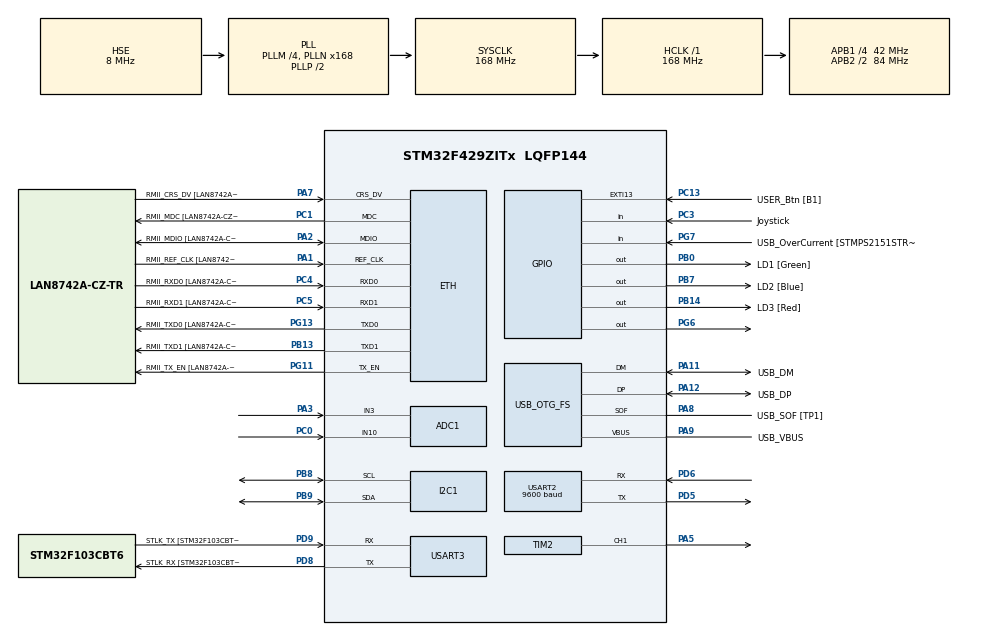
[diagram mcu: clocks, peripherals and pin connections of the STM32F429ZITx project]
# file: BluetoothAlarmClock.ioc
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ADC1.Channel-1\#ChannelRegularConversion=ADC_CHANNEL_3
ADC1.Channel-3\#ChannelRegularConversion=ADC_CHANNEL_10
ADC1.ContinuousConvMode=ENABLE
ADC1.DMAContinuousRequests=ENABLE
ADC1.DiscontinuousConvMode=DISABLE
ADC1.ExternalTrigConv=ADC_SOFTWARE_START
ADC1.NbrOfConversion=2
ADC1.NbrOfConversionFlag=1
ADC1.Rank-1\#ChannelRegularConversion=1
ADC1.Rank-3\#ChannelRegularConversion=2
ADC1.SamplingTime-1\#ChannelRegularConversion=ADC_SAMPLETIME_84CYCLES
ADC1.SamplingTime-3\#ChannelRegularConversion=ADC_SAMPLETIME_84CYCLES
ADC1.ScanConvMode=ENABLE
ADC1.master=1
Dma.ADC1.0.Direction=DMA_PERIPH_TO_MEMORY
Dma.ADC1.0.FIFOMode=DMA_FIFOMODE_DISABLE
Dma.ADC1.0.Instance=DMA2_Stream0
Dma.ADC1.0.MemDataAlignment=DMA_MDATAALIGN_WORD
Dma.ADC1.0.MemInc=DMA_MINC_ENABLE
Dma.ADC1.0.Mode=DMA_CIRCULAR
Dma.ADC1.0.PeriphDataAlignment=DMA_PDATAALIGN_WORD
Dma.ADC1.0.PeriphInc=DMA_PINC_DISABLE
Dma.ADC1.0.Priority=DMA_PRIORITY_LOW
Dma.Request0=ADC1
ETH.MediaInterface=HAL_ETH_RMII_MODE
ETH.PHY_Name=LAN8742A_PHY_ADDRESS
ETH.PHY_Value=0
ETH.PhyAddress=0
Mcu.Family=STM32F4
Mcu.Name=STM32F429ZITx
Mcu.Package=LQFP144
NVIC.DMA2_Stream0_IRQn=true\:0\:0\:false\:false\:true\:false\:true\:true
NVIC.EXTI15_10_IRQn=true\:0\:0\:false\:true\:true\:3\:true\:true\:true
NVIC.PriorityGroup=NVIC_PRIORITYGROUP_4
NVIC.USART2_IRQn=true\:0\:0\:false\:true\:true\:1\:true\:true\:true
NVIC.USART3_IRQn=true\:0\:0\:false\:true\:true\:2\:true\:true\:true
PA1.GPIO_Label=RMII_REF_CLK [LAN8742A-CZ-TR_REFCLK0]
PA1.Mode=RMII
PA1.Signal=ETH_REF_CLK
PA10.GPIO_Label=USB_ID
PA10.Signal=USB_OTG_FS_ID
PA11.GPIO_Label=USB_DM
PA11.Mode=Device_Only
PA11.Signal=USB_OTG_FS_DM
PA12.GPIO_Label=USB_DP
PA12.Mode=Device_Only
PA12.Signal=USB_OTG_FS_DP
PA13.GPIO_Label=TMS
PA13.Mode=Serial_Wire
PA13.Signal=SYS_JTMS-SWDIO
PA14.GPIO_Label=TCK
PA14.Mode=Serial_Wire
PA14.Signal=SYS_JTCK-SWCLK
PA2.GPIO_Label=RMII_MDIO [LAN8742A-CZ-TR_MDIO]
PA2.Mode=RMII
PA2.Signal=ETH_MDIO
PA3.Signal=ADCx_IN3
PA5.Signal=S_TIM2_CH1_ETR
PA7.GPIO_Label=RMII_CRS_DV [LAN8742A-CZ-TR_CRS_DV]
PA7.Mode=RMII
PA7.Signal=ETH_CRS_DV
PA8.GPIO_Label=USB_SOF [TP1]
PA8.Mode=Activate_SOF_FS
PA8.Signal=USB_OTG_FS_SOF
PA9.GPIO_Label=USB_VBUS
PA9.Mode=Activate_VBUS
PA9.Signal=USB_OTG_FS_VBUS
PB0.GPIO_Label=LD1 [Green]
PB0.Signal=GPIO_Output
PB13.GPIO_Label=RMII_TXD1 [LAN8742A-CZ-TR_TXD1]
PB13.Mode=RMII
PB13.Signal=ETH_TXD1
PB14.GPIO_Label=LD3 [Red]
PB14.Signal=GPIO_Output
PB7.GPIO_Label=LD2 [Blue]
PB7.Signal=GPIO_Output
PB8.Mode=I2C
PB8.Signal=I2C1_SCL
PB9.Mode=I2C
PB9.Signal=I2C1_SDA
PC0.Signal=ADCx_IN10
PC1.GPIO_Label=RMII_MDC [LAN8742A-CZ-TR_MDC]
PC1.Mode=RMII
PC1.Signal=ETH_MDC
PC13.GPIO_Label=USER_Btn [B1]
PC13.GPIO_ModeDefaultEXTI=GPIO_MODE_IT_RISING_FALLING
PC13.GPIO_PuPd=GPIO_NOPULL
PC13.Signal=GPXTI13
PC14/OSC32_IN.Mode=LSE-External-Oscillator
PC14/OSC32_IN.Signal=RCC_OSC32_IN
PC15/OSC32_OUT.Mode=LSE-External-Oscillator
PC15/OSC32_OUT.Signal=RCC_OSC32_OUT
PC3.GPIO_Label=Joystick
PC3.Signal=GPIO_Input
PC4.GPIO_Label=RMII_RXD0 [LAN8742A-CZ-TR_RXD0]
PC4.Mode=RMII
PC4.Signal=ETH_RXD0
PC5.GPIO_Label=RMII_RXD1 [LAN8742A-CZ-TR_RXD1]
PC5.Mode=RMII
PC5.Signal=ETH_RXD1
PD5.Mode=Asynchronous
PD5.Signal=USART2_TX
PD6.Mode=Asynchronous
PD6.Signal=USART2_RX
PD8.GPIO_Label=STLK_RX [STM32F103CBT6_PA3]
PD8.Mode=Asynchronous
PD8.Signal=USART3_TX
PD9.GPIO_Label=STLK_TX [STM32F103CBT6_PA2]
PD9.Mode=Asynchronous
PD9.Signal=USART3_RX
PG11.GPIO_Label=RMII_TX_EN [LAN8742A-CZ-TR_TXEN]
PG11.Mode=RMII
PG11.Signal=ETH_TX_EN
PG13.GPIO_Label=RMII_TXD0 [LAN8742A-CZ-TR_TXD0]
PG13.Mode=RMII
PG13.Signal=ETH_TXD0
PG6.Signal=GPIO_Output
PG7.GPIO_Label=USB_OverCurrent [STMPS2151STR_FAULT]
PG7.Signal=GPIO_Input
PH0/OSC_IN.GPIO_Label=MCO [STM32F103CBT6_PA8]
PH0/OSC_IN.Mode=HSE-External-Clock-Source
PH0/OSC_IN.Signal=RCC_OSC_IN
PH1/OSC_OUT.Mode=HSE-External-Clock-Source
PH1/OSC_OUT.Signal=RCC_OSC_OUT
ProjectManager.HeapSize=0x200
ProjectManager.StackSize=0x400
ProjectManager.TargetToolchain=STM32CubeIDE
RCC.48MHZClocksFreq_Value=48000000
RCC.AHBFreq_Value=168000000
RCC.APB1CLKDivider=RCC_HCLK_DIV4
RCC.APB1Freq_Value=42000000
RCC.APB1TimFreq_Value=84000000
RCC.APB2CLKDivider=RCC_HCLK_DIV2
RCC.APB2Freq_Value=84000000
RCC.APB2TimCLKDivider=2
RCC.APB2TimFreq_Value=168000000
RCC.CortexFreq_Value=168000000
RCC.HCLKFreq_Value=168000000
RCC.HSE_VALUE=8000000
RCC.HSI_VALUE=16000000
RCC.PLLM=4
RCC.PLLMUL=RCC_PLL_MUL9
RCC.PLLN=168
RCC.PLLQ=7
RCC.PRESCALERUSB=RCC_USBCLKSOURCE_PLL_DIV1_5
RCC.RCC_RTC_Clock_Source=RCC_RTCCLKSOURCE_LSE
RCC.RCC_RTC_Clock_SourceVirtual=RCC_RTCCLKSOURCE_LSE
RCC.SYSCLKFreq_VALUE=168000000
RCC.SYSCLKSource=RCC_SYSCLKSOURCE_PLLCLK
RCC.SYSCLKSourceVirtual=RCC_SYSCLKSOURCE_PLLCLK
RCC.USBFreq_Value=48000000
RCC.VCOOutputFreq_Value=336000000
RTC.HourFormat=RTC_HOURFORMAT_12
SH.ADCx_IN10.0=ADC1_IN10,IN10
SH.ADCx_IN3.0=ADC1_IN3,IN3
SH.S_TIM2_CH1_ETR.0=TIM2_CH1,PWM Generation1 CH1
TIM2.AutoReloadPreload=TIM_AUTORELOAD_PRELOAD_DISABLE
TIM2.Channel-PWM\ Generation1\ CH1=TIM_CHANNEL_1
TIM2.CounterMode=TIM_COUNTERMODE_DOWN
TIM2.Period=1000-1
TIM2.Prescaler=180-1
TIM2.Pulse-PWM\ Generation1\ CH1=0
USART2.BaudRate=9600
USART2.VirtualMode=VM_ASYNC
USART3.VirtualMode=VM_ASYNC
USB_OTG_FS.VirtualMode=Device_Only
VP_RTC_VS_RTC_Activate.Mode=RTC_Enabled
VP_TIM2_VS_ClockSourceINT.Mode=Internal
board=NUCLEO-F429ZI

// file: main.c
/* USER CODE BEGIN Header */
/**
  ******************************************************************************
  * @file           : main.c
  * @brief          : Main program body
  ******************************************************************************
  * @attention
  *
  * Copyright (c) 2023 STMicroelectronics.
  * All rights reserved.
  *
  * This software is licensed under terms that can be found in the LICENSE file
  * in the root directory of this software component.
  * If no LICENSE file comes with this software, it is provided AS-IS.
  *
  ******************************************************************************
  */
/* USER CODE END Header */
#include "main.h"
#include "adc.h"
#include "dma.h"
#include "eth.h"
#include "i2c.h"
#include "rtc.h"
#include "tim.h"
#include "usart.h"
#include "usb_otg.h"
#include "gpio.h"

/* USER CODE BEGIN Includes */
#include <string.h>
#include <stdio.h>
#include "lcm1602.h"
#include "flash.h"
/* USER CODE END Includes */

/* USER CODE BEGIN PTD */
RTC_TimeTypeDef sTime;
RTC_DateTypeDef sDate;

RTC_TimeTypeDef aTime;
RTC_DateTypeDef aDate;

typedef enum
{
	NONE,
	UP,
	DOWN,
	RIGHT,
	LEFT
}_Direction;

typedef enum
{
	AMPM=0,
	HOUR_T,
	HOUR_O,
	MINUTE_T,
	MINUTE_O,
	SECOND_T,
	SECOND_O,
}_SetMode;

typedef enum
{
	BUTTERFLY=0,
	LITTLESTAR,
	JINGLEBELLS
}_Belltype;

typedef enum
{
	SETTING,
	NORMAL,
	ALARM,
	BELL
}_MODE;
/* USER CODE END PTD */

/* USER CODE BEGIN PD */
#define RTC_FLASH_ADDRESS 0x08060000
/* USER CODE END PD */

/* USER CODE BEGIN PV */
_MODE mode=SETTING;

// AM/PM
_SetMode setmode = AMPM;
char tmpTime[100]= {0,};
char ampm[2][3] = {"AM", "PM"};

// Bell
_Belltype belltype = BUTTERFLY;
char tmp_bell_name[20]={0,};
char bell_name[3][20]={ {">> Butterfly    "}, {">> Little Star  "}, {">> Jingle Bells "}, };

enum notes {C = 956, D = 852, E = 758, F = 716, G = 638, A = 568, B = 506};
uint16_t butterfly[] = {G, E, E, F, D, D, C, D, E, F, G, G, G, G, E, E, E, F, D, D, C, E, G, G, E, E, E, D, D, D, D, D, E, F, E, E, E, E, E, F, G, G, E, E, E, F, D, D, C, E, G, G, E, E, E};
uint16_t butterfly_interval[] = {10, 10, 400, 10, 10, 400, 10, 10, 10, 10, 10, 10, 400, 10, 10, 10, 10, 10, 10, 400, 10, 10, 10, 10, 10, 10, 400, 10, 10, 10, 10, 10, 10, 400, 10, 10, 10, 10, 10, 10, 400, 10, 10, 10, 10, 10, 10, 400, 10, 10, 10, 10, 10, 10, 800};
uint8_t butterfly_length = sizeof(butterfly)/sizeof(uint16_t);

uint16_t littlestar[] = {C, C, G, G, A, A, G, F, F, E, E, D, D, C, G, G, F, F, E, E, D, G, G, F, F, E, E, D, C, C, G, G, A, A, G, F, F, E, E, D, D, C};
uint16_t littlestar_interval[] = {10, 10, 10, 10, 10, 10, 400, 10, 10, 10, 10, 10, 10, 400, 10, 10, 10, 10, 10, 10, 400, 10, 10, 10, 10, 10, 10, 400, 10, 10, 10, 10, 10, 10, 400, 10, 10, 10, 10, 10, 10, 800};
uint8_t littlestar_length = sizeof(littlestar)/sizeof(uint16_t);

uint16_t jinglebells[] = {E, E, E, E, E, E, E, G, C, D, E, F, F, F, F, F, E, E, E, E, D, D, E, D, G, E, E, E, E, E, E, E, G, C, D, E, F, F, F, F, F, E, E, E, G, G, F, D, C};
uint16_t jinglebells_interval[] = {10, 10, 400, 10, 10, 400, 10, 10, 10, 10, 800, 10, 10, 10, 10, 10, 10, 10, 10, 10, 10, 10, 10, 400, 600, 10, 10, 400, 10, 10, 400, 10, 10, 10, 10, 800, 10, 10, 10, 10, 10, 10, 10, 10, 10, 10, 10, 10, 800};
uint8_t jinglebells_length = sizeof(jinglebells) / sizeof(uint16_t);

// Button
_Direction direction;
_Direction button;
_Direction Bl_button;

uint8_t user_pressed_flag=0;
uint8_t user_pulled_flag=0;

uint32_t old_tick=0;
uint32_t current_tick=0;

uint8_t double_click = 0;
uint32_t interval = 0;
uint32_t interval_chk[2] = {0, };
int pulled_chk = -1;

// Alarm
uint8_t alarm_on=0;

// Joystick
uint32_t XY[2];

// Bluetooth
uint8_t rx2_data;
/* USER CODE END PV */

void SystemClock_Config(void);
static void MX_NVIC_Init(void);
/* USER CODE BEGIN PFP */
_Direction getButton();

void move_cur_time(RTC_TimeTypeDef *time, _Direction direction);
void move_cur_bell(_Direction direction);
/* USER CODE END PFP */

int main(void)
{

  /* MCU Configuration--------------------------------------------------------*/

  /* Reset of all peripherals, Initializes the Flash interface and the Systick. */
  HAL_Init();

  /* Configure the system clock */
  SystemClock_Config();

  /* Initialize all configured peripherals */
  MX_GPIO_Init();
  MX_DMA_Init();
  MX_ETH_Init();
  MX_USART3_UART_Init();
  MX_USB_OTG_FS_PCD_Init();
  MX_ADC1_Init();
  MX_I2C1_Init();
  MX_RTC_Init();
  MX_TIM2_Init();
  MX_USART2_UART_Init();
  /* Initialize interrupts */
  MX_NVIC_Init();
  /* USER CODE BEGIN 2 */
  LCM1602_init();

  HAL_UART_Receive_IT(&huart2, &rx2_data, sizeof(rx2_data));

  HAL_RTC_GetTime(&hrtc, &sTime, RTC_FORMAT_BIN);
  HAL_RTC_GetDate(&hrtc, &sDate, RTC_FORMAT_BIN);

  HAL_ADC_Start_DMA(&hadc1, XY, 2);

  uint8_t toggle=0;

  char customChar[] = {0x01, 0x03, 0x05, 0x09, 0x09, 0x0B, 0x1B, 0x18};
  LCD_SendCommand(LCD_ADDR, 0x40);
  for(int i=0; i<8; i++) LCD_SendData(customChar[i]);

  uint32_t readRtcData[3];
  FLASH_Read(RTC_FLASH_ADDRESS, readRtcData, sizeof(readRtcData) / sizeof(readRtcData[0]));
  sTime.Hours = readRtcData[0];
  sTime.Minutes = readRtcData[1];
  sTime.Seconds = readRtcData[2];
  HAL_RTC_SetTime(&hrtc, &sTime, RTC_FORMAT_BIN);
  /* USER CODE END 2 */

  /* Infinite loop */
  /* USER CODE BEGIN WHILE */
  while (1)
  {
	  // setting mode
	  if(mode==SETTING)
	  {
		  toggle^=1;

		  lcd_put_cur(0,0);
		  LCD_SendString("Setting Mode    ");

		  // Read Button
		  button = getButton();
		  move_cur_time(&sTime, button);

		  HAL_RTC_SetTime(&hrtc, &sTime, RTC_FORMAT_BIN);

		  // the part where it's big and blinking
		  if(toggle)
		  {
			  sprintf(tmpTime,"%s %02d:%02d:%02d ", ampm[sTime.TimeFormat], sTime.Hours, sTime.Minutes, sTime.Seconds);
		  }
		  else
		  {
			  if(setmode==AMPM)
			  {
				  sprintf(tmpTime,"   %02d:%02d:%02d ", sTime.Hours, sTime.Minutes, sTime.Seconds);
			  }
			  else if(setmode==HOUR_T)
			  {
				  sprintf(tmpTime,"%s  %d:%02d:%02d ", ampm[sTime.TimeFormat], sTime.Hours%10, sTime.Minutes, sTime.Seconds);
			  }
			  else if(setmode==HOUR_O)
			  {
				  sprintf(tmpTime,"%s %d :%02d:%02d ", ampm[sTime.TimeFormat], sTime.Hours/10, sTime.Minutes, sTime.Seconds);
			  }
			  else if(setmode==MINUTE_T)
			  {
				  sprintf(tmpTime,"%s %02d: %d:%02d ", ampm[sTime.TimeFormat], sTime.Hours, sTime.Minutes%10, sTime.Seconds);
			  }
			  else if(setmode==MINUTE_O)
			  {
				  sprintf(tmpTime,"%s %02d:%d :%02d ", ampm[sTime.TimeFormat], sTime.Hours, sTime.Minutes/10, sTime.Seconds);
			  }
			  else if(setmode==SECOND_T)
			  {
				  sprintf(tmpTime,"%s %02d:%02d: %d ", ampm[sTime.TimeFormat], sTime.Hours, sTime.Minutes, sTime.Seconds%10);
			  }
			  else if(setmode==SECOND_O)
			  {
				  sprintf(tmpTime,"%s %02d:%02d:%d ", ampm[sTime.TimeFormat], sTime.Hours, sTime.Minutes, sTime.Seconds/10);
			  }
		  }

		  lcd_put_cur(1,0);
		  LCD_SendString(tmpTime);

		  if(user_pressed_flag==1)
		  {
			  current_tick=HAL_GetTick();

			  if(current_tick-old_tick > 1)
			  {
				  old_tick=current_tick;
				  user_pressed_flag=0;
				  HAL_RTC_SetTime(&hrtc, &sTime, RTC_FORMAT_BIN);
				  mode=NORMAL;
			  }
		  }
	  }
	  // normal mode
	  else if(mode==NORMAL)
	  {
		  HAL_RTC_GetTime(&hrtc, &sTime, RTC_FORMAT_BIN);
		  HAL_RTC_GetDate(&hrtc, &sDate, RTC_FORMAT_BIN);
		  sprintf(tmpTime,"%s %02d:%02d:%02d     ", ampm[sTime.TimeFormat], sTime.Hours, sTime.Minutes, sTime.Seconds);
		  lcd_put_cur(0,0);
		  LCD_SendString("Choi Jin Woo    ");
		  lcd_put_cur(1,0);
		  LCD_SendString(tmpTime);

		  if(sTime.TimeFormat==aTime.TimeFormat && sTime.Hours==aTime.Hours && sTime.Minutes==aTime.Minutes && sTime.Seconds==aTime.Seconds)
		  {
			  alarm_on=1;
		  }

		  if(alarm_on==1)
		  {
			  if (belltype == BUTTERFLY)
			  {
				  toggle^=1;

				  if(toggle==1)
				  {
					  HAL_TIM_PWM_Stop(&htim2, TIM_CHANNEL_1);
				  }
				  else
				  {
					  HAL_TIM_PWM_Start(&htim2, TIM_CHANNEL_1);

					  for(int i=0; i < butterfly_length; i++)
					  {
					  		  TIM2->ARR = butterfly[i];
					  		  TIM2->CCR1 = TIM2->ARR / 2;
					  		  HAL_Delay(500);
					  		  TIM2->CCR1 = 0;
					  		  HAL_Delay(butterfly_interval[i]);
					  		  TIM2->CCR1 = TIM2->ARR / 2;
					  }

					  alarm_on=0;
					  HAL_TIM_PWM_Stop(&htim2, TIM_CHANNEL_1);
				  }
			  }
			  else if (belltype == LITTLESTAR)
			  {
				  toggle^=1;

				  if(toggle==1)
				  {
					  HAL_TIM_PWM_Stop(&htim2, TIM_CHANNEL_1);
				  }
				  else
				  {
					  HAL_TIM_PWM_Start(&htim2, TIM_CHANNEL_1);

					  for(int i=0; i < littlestar_length; i++)
					  {
					  		  TIM2->ARR = littlestar[i];
					  		  TIM2->CCR1 = TIM2->ARR / 2;
					  		  HAL_Delay(500);
					  		  TIM2->CCR1 = 0;
					  		  HAL_Delay(littlestar_interval[i]);
					  		  TIM2->CCR1 = TIM2->ARR / 2;
					  }

					  alarm_on=0;
					  HAL_TIM_PWM_Stop(&htim2, TIM_CHANNEL_1);
				  }
			  }
			  else if (belltype == JINGLEBELLS)
			  {
				  toggle^=1;

				  if(toggle==1)
				  {
					  HAL_TIM_PWM_Stop(&htim2, TIM_CHANNEL_1);
				  }
				  else
				  {
					  HAL_TIM_PWM_Start(&htim2, TIM_CHANNEL_1);

					  for(int i=0; i < jinglebells_length; i++)
					  {
					  		  TIM2->ARR = jinglebells[i];
					  		  TIM2->CCR1 = TIM2->ARR / 2;
					  		  HAL_Delay(500);
					  		  TIM2->CCR1 = 0;
					  		  HAL_Delay(jinglebells_interval[i]);
					  		  TIM2->CCR1 = TIM2->ARR / 2;
					  }

					  alarm_on=0;
					  HAL_TIM_PWM_Stop(&htim2, TIM_CHANNEL_1);
				  }
			  }
		  }

		  if(user_pressed_flag==1)
		  {
			  current_tick=HAL_GetTick();

			  if(current_tick-old_tick > 2000)
			  {
				  old_tick=current_tick;
				  user_pressed_flag=0;
				  mode=ALARM;
				  HAL_RTC_GetTime(&hrtc, &aTime, RTC_FORMAT_BIN);
				  HAL_RTC_GetDate(&hrtc, &aDate, RTC_FORMAT_BIN);
			  }
		  }

		  if(double_click==1)
		  {
			  uint32_t rtcData[3] = {sTime.Hours, sTime.Minutes, sTime.Seconds};
			  FLASH_Write(RTC_FLASH_ADDRESS, rtcData, sizeof(rtcData) / sizeof(rtcData[0]));

			  mode=BELL;
			  double_click=0;
		  }
	  }
	  // alarm mode
	  else if(mode==ALARM)
	  {
		  toggle^=1;

		  lcd_put_cur(0,0);
		  LCD_SendString("Alarm Mode      ");

		  button = getButton();
		  move_cur_time(&aTime, button);

		  if(toggle)
		  {
			  sprintf(tmpTime,"%s %02d:%02d:%02d   ", ampm[aTime.TimeFormat], aTime.Hours, aTime.Minutes, aTime.Seconds);
		  }
		  else
		  {
			  if(setmode==AMPM)
			  {
				  sprintf(tmpTime,"   %02d:%02d:%02d ", aTime.Hours, aTime.Minutes, aTime.Seconds);
			  }
			  else if(setmode==HOUR_T)
			  {
				  sprintf(tmpTime,"%s  %d:%02d:%02d ", ampm[aTime.TimeFormat], aTime.Hours%10, aTime.Minutes, aTime.Seconds);
			  }
			  else if(setmode==HOUR_O)
			  {
				  sprintf(tmpTime,"%s %d :%02d:%02d ", ampm[aTime.TimeFormat], aTime.Hours/10, aTime.Minutes, aTime.Seconds);
			  }
			  else if(setmode==MINUTE_T)
			  {
				  sprintf(tmpTime,"%s %02d: %d:%02d ", ampm[aTime.TimeFormat], aTime.Hours, aTime.Minutes%10, aTime.Seconds);
			  }
			  else if(setmode==MINUTE_O)
			  {
				  sprintf(tmpTime,"%s %02d:%d :%02d ", ampm[aTime.TimeFormat], aTime.Hours, aTime.Minutes/10, aTime.Seconds);
			  }
			  else if(setmode==SECOND_T)
			  {
				  sprintf(tmpTime,"%s %02d:%02d: %d ", ampm[aTime.TimeFormat], aTime.Hours, aTime.Minutes, aTime.Seconds%10);
			  }
			  else if(setmode==SECOND_O)
			  {
				  sprintf(tmpTime,"%s %02d:%02d:%d ", ampm[aTime.TimeFormat], aTime.Hours, aTime.Minutes, aTime.Seconds/10);
			  }
		  }

		  lcd_put_cur(1,0);
		  LCD_SendString(tmpTime);
		  lcd_put_cur(1, 14);
		  LCD_SendData(0);

		  if(user_pressed_flag==1)
		  {
			  current_tick=HAL_GetTick();

			  if(current_tick-old_tick > 1)
			  {
				  old_tick=current_tick;
				  user_pressed_flag=0;
				  pulled_chk = -1;
				  mode=NORMAL;
			  }
		  }
	  }
	  else if (mode == BELL)
	  {
		  lcd_put_cur(0, 0);
		  LCD_SendString("Select Bell     ");

		  button = getButton();
		  move_cur_bell(button);

		  sprintf(tmp_bell_name, "%s", bell_name[belltype]);

		  lcd_put_cur(1, 0);
		  LCD_SendString(tmp_bell_name);

		  if (user_pressed_flag == 1)
		  {
			  current_tick = HAL_GetTick();
			  if (current_tick - old_tick > 1)
			  {
				  old_tick = current_tick;
				  user_pressed_flag = 0;
				  interval = 0;
				  pulled_chk = -1;
				  mode = NORMAL;
			  }
		  }
	  }
    /* USER CODE END WHILE */

  }
}

void SystemClock_Config(void)
{
  RCC_OscInitTypeDef RCC_OscInitStruct = {0};
  RCC_ClkInitTypeDef RCC_ClkInitStruct = {0};

  /** Configure the main internal regulator output voltage
  */
  __HAL_RCC_PWR_CLK_ENABLE();
  __HAL_PWR_VOLTAGESCALING_CONFIG(PWR_REGULATOR_VOLTAGE_SCALE1);

  /** Initializes the RCC Oscillators according to the specified parameters
  * in the RCC_OscInitTypeDef structure.
  */
  RCC_OscInitStruct.OscillatorType = RCC_OSCILLATORTYPE_HSE|RCC_OSCILLATORTYPE_LSE;
  RCC_OscInitStruct.HSEState = RCC_HSE_BYPASS;
  RCC_OscInitStruct.LSEState = RCC_LSE_ON;
  RCC_OscInitStruct.PLL.PLLState = RCC_PLL_ON;
  RCC_OscInitStruct.PLL.PLLSource = RCC_PLLSOURCE_HSE;
  RCC_OscInitStruct.PLL.PLLM = 4;
  RCC_OscInitStruct.PLL.PLLN = 168;
  RCC_OscInitStruct.PLL.PLLP = RCC_PLLP_DIV2;
  RCC_OscInitStruct.PLL.PLLQ = 7;
  if (HAL_RCC_OscConfig(&RCC_OscInitStruct) != HAL_OK)
  {
    Error_Handler();
  }

  /** Initializes the CPU, AHB and APB buses clocks
  */
  RCC_ClkInitStruct.ClockType = RCC_CLOCKTYPE_HCLK|RCC_CLOCKTYPE_SYSCLK
                              |RCC_CLOCKTYPE_PCLK1|RCC_CLOCKTYPE_PCLK2;
  RCC_ClkInitStruct.SYSCLKSource = RCC_SYSCLKSOURCE_PLLCLK;
  RCC_ClkInitStruct.AHBCLKDivider = RCC_SYSCLK_DIV1;
  RCC_ClkInitStruct.APB1CLKDivider = RCC_HCLK_DIV4;
  RCC_ClkInitStruct.APB2CLKDivider = RCC_HCLK_DIV2;

  if (HAL_RCC_ClockConfig(&RCC_ClkInitStruct, FLASH_LATENCY_5) != HAL_OK)
  {
    Error_Handler();
  }
}

/**
  * @brief NVIC Configuration.
  * @retval None
  */
static void MX_NVIC_Init(void)
{
  /* USART2_IRQn interrupt configuration */
  HAL_NVIC_SetPriority(USART2_IRQn, 0, 0);
  HAL_NVIC_EnableIRQ(USART2_IRQn);
  /* USART3_IRQn interrupt configuration */
  HAL_NVIC_SetPriority(USART3_IRQn, 0, 0);
  HAL_NVIC_EnableIRQ(USART3_IRQn);
  /* EXTI15_10_IRQn interrupt configuration */
  HAL_NVIC_SetPriority(EXTI15_10_IRQn, 0, 0);
  HAL_NVIC_EnableIRQ(EXTI15_10_IRQn);
}

/* USER CODE BEGIN 4 */
_Direction getButton()
{
    if (Bl_button != NONE)
    {
        _Direction temp = Bl_button;
        Bl_button = NONE;
        return temp;
    }

	if(XY[0] < 300)
		return UP;
	else if(XY[0] > 3800)
		return DOWN;
	else if(XY[1] > 3800)
		return LEFT;
	else if(XY[1] < 300)
		return RIGHT;
	else
		return NONE;
}

void move_cur_time(RTC_TimeTypeDef *Time, _Direction direction)
{
	switch(direction)
	{
	case RIGHT:
		setmode++;
		if(setmode > SECOND_O) setmode = SECOND_O;
		break;
	case LEFT:
		if(setmode > AMPM) setmode--;
		break;
	case UP:
		if(setmode==AMPM)
		{
			Time->TimeFormat ^= 1;
		}
		else if(setmode==HOUR_T)
		{
			Time->Hours+=10;
			if(!IS_RTC_HOUR12(Time->Hours)) Time->Hours = 1;
		}
		else if(setmode==HOUR_O)
		{
			Time->Hours++;
			if(!IS_RTC_HOUR12(Time->Hours)) Time->Hours = 1;
		}
		else if(setmode==MINUTE_T)
		{
			Time->Minutes+=10;
			if(!IS_RTC_MINUTES(Time->Minutes)) Time->Minutes = 0;
		}
		else if(setmode==MINUTE_O)
		{
			Time->Minutes++;
			if(!IS_RTC_MINUTES(Time->Minutes)) Time->Minutes = 0;
		}
		else if(setmode==SECOND_T)
		{
			Time->Seconds+=10;
			if(!IS_RTC_SECONDS(Time->Seconds)) Time->Seconds = 0;
		}
		else if(setmode==SECOND_O)
		{
			Time->Seconds++;
			if(!IS_RTC_SECONDS(Time->Seconds)) Time->Seconds = 0;
		}
		break;
	case DOWN:
		if(setmode==AMPM)
		{
			Time->TimeFormat ^= 1;
		}
		else if(setmode==HOUR_T)
		{
			Time->Hours-=10;
			if(!IS_RTC_HOUR12(Time->Hours)) Time->Hours = 12;
		}
		else if(setmode==HOUR_O)
		{
			Time->Hours--;
			if(!IS_RTC_HOUR12(Time->Hours)) Time->Hours = 12;
		}
		else if(setmode==MINUTE_T)
		{
			Time->Minutes-=10;
			if(!IS_RTC_MINUTES(Time->Minutes)) Time->Minutes = 59;
		}
		else if(setmode==MINUTE_O)
		{
			Time->Minutes--;
			if(!IS_RTC_MINUTES(Time->Minutes)) Time->Minutes = 59;
		}
		else if(setmode==SECOND_T)
		{
			Time->Seconds-=10;
			if(!IS_RTC_SECONDS(Time->Seconds)) Time->Seconds = 59;
		}
		else if(setmode==SECOND_O)
		{
			Time->Seconds--;
			if(!IS_RTC_SECONDS(Time->Seconds)) Time->Seconds = 59;
		}
		break;
	case NONE:
		break;
	}
}

void move_cur_bell(_Direction direction)
{
	switch(direction)
	{
	case RIGHT:
		break;
	case LEFT:
		break;
	case NONE:
		break;
	case UP:
		if(belltype < 2) belltype++;
		else belltype=0;
		break;
	case DOWN:
		if(belltype > 0) belltype--;
		else belltype=2;
		break;
	}
}

void HAL_GPIO_EXTI_Callback(uint16_t GPIO_Pin)
{
	if(GPIO_Pin == GPIO_PIN_13)
	{
		if(HAL_GPIO_ReadPin(GPIOC, GPIO_PIN_13))
		{
			user_pulled_flag = 0;
			user_pressed_flag = 1;
			old_tick=HAL_GetTick();
			current_tick=HAL_GetTick();

			if (mode == NORMAL)
			{
				interval_chk[0] = HAL_GetTick();

				interval = interval_chk[0] - interval_chk[1];
			}
		}
		else
		{
			user_pulled_flag = 1;
			user_pressed_flag = 0;

			if (mode == NORMAL)
			{
				interval_chk[1] = HAL_GetTick();

				pulled_chk++;

				if(interval > 0 && interval < 300 && pulled_chk > 1)
				{
					double_click = 1;
				}
			}
		}
	}
}

void HAL_UART_RxCpltCallback(UART_HandleTypeDef* huart)
{
	if (huart->Instance == USART2)
	{
		HAL_UART_Transmit(&huart3, &rx2_data, sizeof(rx2_data), 10);
		HAL_UART_Receive_IT(&huart2, &rx2_data, sizeof(rx2_data));

		switch(rx2_data)
		{
		case 'U':
			Bl_button = UP;
			break;
		case 'D':
			Bl_button = DOWN;
			break;
		case 'L':
			Bl_button = LEFT;
			break;
		case 'R':
			Bl_button = RIGHT;
			break;
		case 'E':
			if (mode != NORMAL)
				user_pressed_flag=1;
			break;
		case 'B':
			if (mode == NORMAL)
				double_click=1;
			break;
		case 'A':
			if (mode == NORMAL)
				user_pressed_flag=1;
			break;
		default:
			break;
		}
	}
}
/* USER CODE END 4 */

void Error_Handler(void)
{
  __disable_irq();
  while (1)
  {
  }
}
